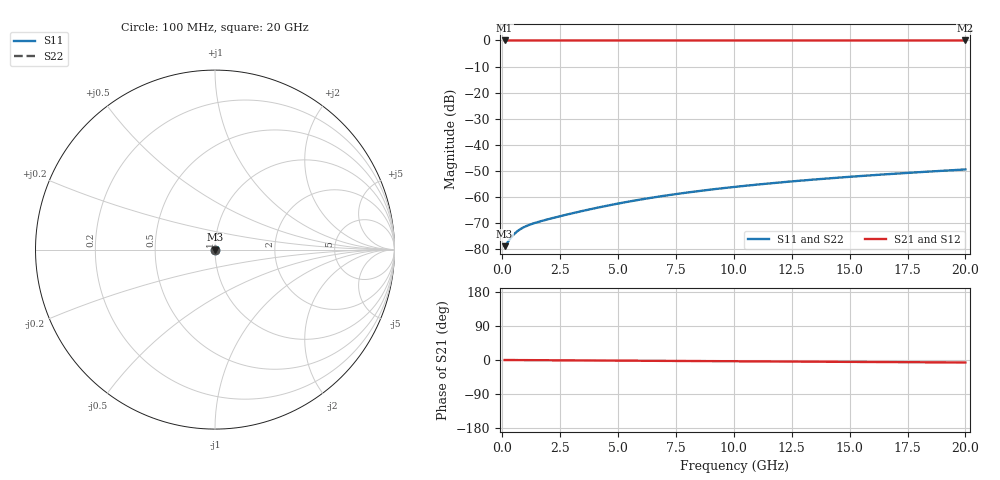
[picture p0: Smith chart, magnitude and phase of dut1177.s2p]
! Touchstone file exported from HFSS 2026.1.0
!  File:  C:/ffzhzh/LocalFiles/Ansys_Project_Files/temp_train_TSV_1177_1783192145_55132.aedt
!  Generated:  03:10:25 AM Jul  5, 2026
!  Design:  TSV
!  Project:  temp_train_TSV_1177_1783192145_55132
! Variables:
!  h_bsmrdl = 2um
!  h_ox = 20um
!  h_rdl = 5um
!  h_sub = 65.22um
!  h_tmrdl = 5um
!  h_tsv = 65.22um
!  h_via = 3um
!  l_bsmrdl = 300um
!  l_sub = 419.96um
!  l_tmrdl = 200um
!  m_sub = 200um
!  pitch = 38.96um
!  r_tsv = 9.98um
!  s_tmrdl = 10um
!  w_bsmrdl = 18um
!  w_sub = 500um
!  w_tmrdl = 12um
!  x_tsv_center1 = 206um
!  x_tsv_center2 = 524um
!  x_tsv_center3 = 736um
!  x_tsv_center4 = 1054um
!  x_tsv_center5 = 1266um
!  x_tsv_center6 = 1584um
# GHz S MA R 50.000000
! Terminal data exported
! Port[1] = TSV1_1_T1
! Port[2] = TSV1_1_T2
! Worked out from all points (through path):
!   200 points, 100 MHz to 20 GHz, reference 50 ohm
!   highest |S21| = 0.00 dB at 100 MHz (marker M1); lowest = 0.0 dB at 20 GHz (marker M2)
!   lowest |S11| = -78.9 dB at 100 MHz (marker M3), VSWR 1.00, Z = 50 + j0.00218 ohm
!   |S11| at or under -10 dB: start of sweep to end of sweep
!   |S22| runs from -78.9 to -49.5 dB; largest |S21 - S12| = 3.2e-15
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0.1  0.0001136 11.0  0.9999 -0.0  0.9999 -0.0  0.0001136 11.0
! Gamma 0 0 0 0
! Port Impedance 50 0 50 0
0.2  0.0001289 18.6  0.9999 -0.1  0.9999 -0.1  0.0001289 18.6
0.4  0.0001705 22.6  0.9998 -0.1  0.9998 -0.1  0.0001705 22.6
0.5  0.0001914 21.4  0.9998 -0.2  0.9998 -0.2  0.0001914 21.4
0.6  0.0002107 19.3  0.9998 -0.2  0.9998 -0.2  0.0002106 19.3
0.7  0.0002282 16.7  0.9998 -0.2  0.9998 -0.2  0.0002282 16.7
0.8  0.000244 13.9  0.9998 -0.3  0.9998 -0.3  0.000244 13.9
1  0.0002714 8.3  0.9997 -0.3  0.9997 -0.3  0.0002714 8.3
1.3  0.0003057 0.5  0.9997 -0.4  0.9997 -0.4  0.0003057 0.5
1.8  0.0003559 -10.1  0.9996 -0.6  0.9996 -0.6  0.0003559 -10.1
2.6  0.000438 -22.6  0.9996 -0.9  0.9996 -0.9  0.0004379 -22.6
3.5  0.0005428 -32.5  0.9995 -1.2  0.9995 -1.2  0.0005427 -32.5
4.3  0.0006473 -39.0  0.9995 -1.4  0.9995 -1.4  0.0006471 -39.0
5.1  0.0007603 -44.2  0.9994 -1.7  0.9994 -1.7  0.0007602 -44.2
5.9  0.0008801 -48.5  0.9994 -2.0  0.9994 -2.0  0.0008799 -48.5
6.8  0.001021 -52.5  0.9993 -2.3  0.9993 -2.3  0.00102 -52.5
8.4  0.001281 -58.2  0.9993 -2.8  0.9993 -2.8  0.001281 -58.2
10.1  0.001568 -62.8  0.9992 -3.3  0.9992 -3.3  0.001567 -62.9
11.7  0.001844 -66.3  0.9991 -3.9  0.9991 -3.9  0.001843 -66.3
13.4  0.002143 -69.3  0.9991 -4.4  0.9991 -4.4  0.002142 -69.3
16.7  0.002739 -73.7  0.999 -5.5  0.999 -5.5  0.002739 -73.8
20  0.003362 -77.0  0.9989 -6.6  0.9989 -6.6  0.003361 -77.1
